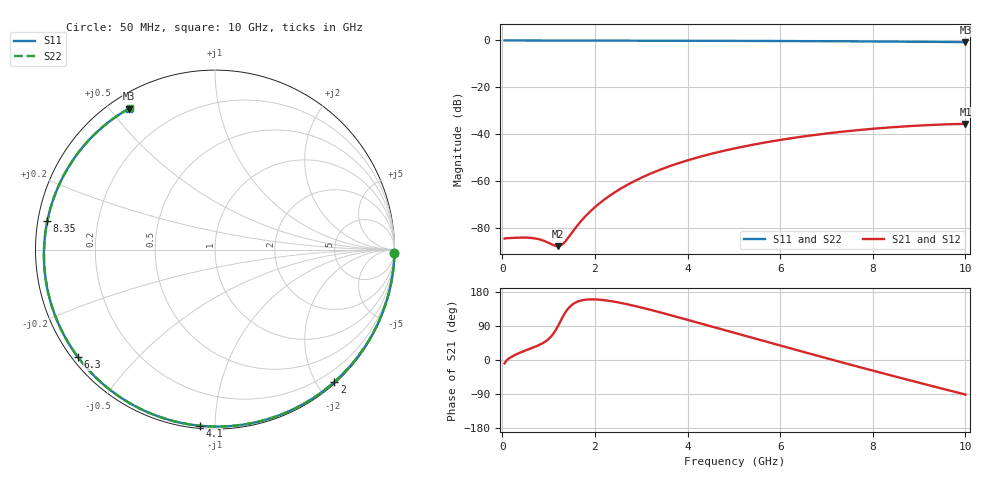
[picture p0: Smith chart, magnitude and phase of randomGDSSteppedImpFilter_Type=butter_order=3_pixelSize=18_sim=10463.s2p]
! freq	dB(S11)	phase(S11)	dB(S12)	phase(S12)
!  dB(S21)	phase(S21)	dB(S22)	phase(S22)
!S-par simulation data
#  GHz  S  DB  R 50
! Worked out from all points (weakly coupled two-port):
!   200 points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, 50 MHz to 10 GHz, reference 50 ohm
!   highest |S21| = -35.60 dB at 10 GHz (marker M1); lowest = -87.8 dB at 1.2 GHz (marker M2)
!   lowest |S11| = -0.7 dB at 10 GHz (marker M3), VSWR 24.09, Z = 2.72 + j27.9 ohm
!   |S11| at or under -10 dB: nowhere
!   |S22| runs from -0.7 to 0.0 dB; largest |S21 - S12| = 0
!   S11 on the Smith chart (normalised r, x): 50 MHz: 0, -93; 2 GHz: 0.02, -2.25; 4.1 GHz: 0.01, -0.92; 6.3 GHz: 0.02, -0.35; 8.35 GHz: 0.03, +0.08; 10 GHz: 0.05, +0.56
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0.05  -0.00 -1.2  -84.57 -8.8  -84.57 -8.8  -0.00 -1.2
0.6  -0.01 -14.7  -84.26 29.8  -84.26 29.8  -0.01 -14.7
1.2  -0.04 -29.1  -87.82 88.9  -87.82 88.9  -0.04 -29.2
1.55  -0.05 -37.5  -80.82 149.5  -80.82 149.5  -0.05 -37.5
1.6  -0.05 -38.6  -79.53 152.7  -79.53 152.7  -0.05 -38.7
1.75  -0.05 -42.2  -76.01 158.3  -76.01 158.3  -0.05 -42.2
2  -0.06 -48.0  -71.17 159.9  -71.17 159.9  -0.06 -48.0
2.3  -0.07 -55.0  -66.54 156.2  -66.54 156.2  -0.07 -55.0
2.6  -0.08 -61.8  -62.77 149.7  -62.77 149.7  -0.08 -61.8
3  -0.09 -70.8  -58.63 138.6  -58.63 138.6  -0.09 -70.9
3.4  -0.10 -79.7  -55.25 126.0  -55.25 126.0  -0.10 -79.8
4.1  -0.13 -95.0  -50.60 102.6  -50.60 102.6  -0.13 -95.0
5.05  -0.18 -115.3  -45.95 70.3  -45.95 70.3  -0.18 -115.3
5.65  -0.21 -128.0  -43.65 50.0  -43.65 50.0  -0.21 -128.1
6.3  -0.26 -141.9  -41.56 28.1  -41.56 28.1  -0.26 -142.0
6.7  -0.29 -150.6  -40.46 14.7  -40.46 14.7  -0.29 -150.8
7.55  -0.37 -169.9  -38.53 -13.4  -38.53 -13.4  -0.37 -170.1
8.35  -0.47 170.4  -37.16 -39.3  -37.16 -39.3  -0.47 170.1
8.8  -0.53 158.4  -36.56 -53.6  -36.56 -53.6  -0.53 158.1
9.2  -0.58 147.0  -36.13 -66.2  -36.13 -66.2  -0.59 146.6
9.6  -0.65 134.7  -35.81 -78.8  -35.81 -78.8  -0.65 134.3
10  -0.72 121.5  -35.60 -91.2  -35.60 -91.2  -0.72 121.0
